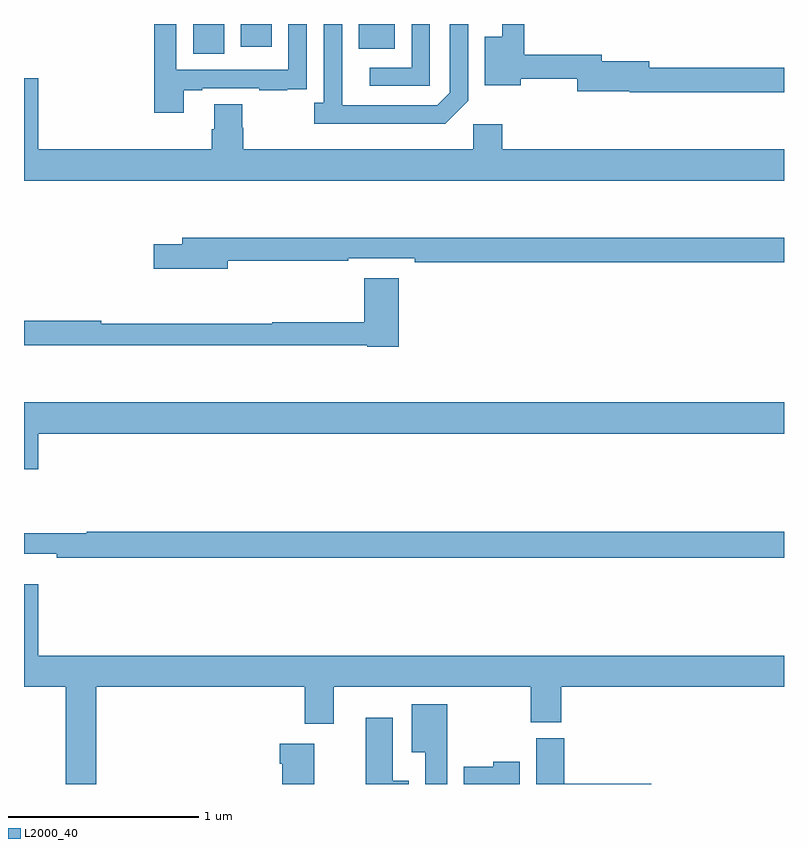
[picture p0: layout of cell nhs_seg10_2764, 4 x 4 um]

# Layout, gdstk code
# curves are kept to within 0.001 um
import gdstk
lib = gdstk.Library(unit=1e-6, precision=1e-09)
def R(c, l, rs):  # rectangles x0, y0, x1, y1
    for r in rs: c.add(gdstk.rectangle(r[:2], r[2:], *l))
def P(c, l, *ps):  # polygons
    for p in ps: c.add(gdstk.Polygon(p, *l))
L2000_40 = (2000, 40)

nhs_seg10_2764 = lib.new_cell('nhs_seg10_2764')
R(nhs_seg10_2764, L2000_40, [(261.89,1274.344,262.054,1274.5), (262.763,1274.369,262.951,1274.5), (262.142,1274.379,262.303,1274.5)])
P(nhs_seg10_2764, L2000_40, [(263.136,1274.5),(263.04,1274.5),(263.04,1274.271),(262.821,1274.271),(262.821,1274.175),(263.136,1274.175)],
  [(261.841,1274.151),(261.937,1274.151),(261.937,1274.163),(262.237,1274.163),(262.237,1274.151),(262.385,1274.151),(262.385,1274.157),(262.487,1274.157),(262.487,1274.266),(262.488,1274.266),(262.488,1274.5),(262.392,1274.5),(262.392,1274.259),(261.801,1274.259),(261.801,1274.5),(261.685,1274.5),(261.685,1274.034),(261.841,1274.034)],
  [(265,1274.27),(264.292,1274.27),(264.292,1274.303),(264.04,1274.303),(264.04,1274.339),(263.633,1274.339),(263.633,1274.5),(263.516,1274.5),(263.516,1274.434),(263.426,1274.434),(263.426,1274.177),(263.614,1274.177),(263.614,1274.211),(263.912,1274.211),(263.912,1274.146),(264.188,1274.146),(264.188,1274.142),(265,1274.142)],
  [(263.337,1274.097),(263.337,1274.5),(263.241,1274.5),(263.241,1274.139),(263.175,1274.073),(262.675,1274.073),(262.674,1274.5),(262.578,1274.5),(262.578,1274.086),(262.527,1274.086),(262.527,1273.976),(263.216,1273.976)],
  [(265,1273.84),(263.516,1273.84),(263.516,1273.972),(263.364,1273.972),(263.364,1273.84),(262.154,1273.84),(262.154,1273.953),(262.149,1273.953),(262.149,1274.078),(262.001,1274.078),(262.001,1273.946),(261.989,1273.946),(261.989,1273.84),(261.076,1273.84),(261.076,1274.215),(261,1274.215),(261,1273.676),(265,1273.676)],
  [(262.072,1273.254),(262.706,1273.254),(262.706,1273.266),(263.056,1273.266),(263.056,1273.246),(265,1273.246),(265,1273.375),(261.833,1273.375),(261.833,1273.341),(261.684,1273.341),(261.684,1273.211),(262.072,1273.211)],
  [(262.973,1273.162),(262.79,1273.162),(262.79,1272.931),(262.306,1272.931),(262.306,1272.923),(261.406,1272.923),(261.406,1272.938),(261,1272.938),(261,1272.81),(262.806,1272.81),(262.806,1272.802),(262.973,1272.802)],
  [(261.076,1272.344),(265,1272.344),(265,1272.508),(261,1272.508),(261,1272.156),(261.076,1272.156)],
  [(265,1271.828),(261.329,1271.828),(261.329,1271.821),(261,1271.821),(261,1271.711),(261.172,1271.711),(261.172,1271.692),(265,1271.692)],
  [(261.38,1271.012),(262.478,1271.012),(262.478,1270.818),(262.63,1270.818),(262.63,1271.012),(263.668,1271.012),(263.668,1270.825),(263.828,1270.825),(263.828,1271.012),(265,1271.012),(265,1271.176),(261.076,1271.176),(261.076,1271.551),(261,1271.551),(261,1271.012),(261.22,1271.012),(261.22,1270.5),(261.38,1270.5)],
  [(263.227,1270.921),(263.042,1270.921),(263.042,1270.667),(263.111,1270.667),(263.111,1270.5),(263.227,1270.5)],
  [(263.026,1270.516),(262.942,1270.516),(262.942,1270.849),(262.799,1270.849),(262.799,1270.5),(263.026,1270.5)],
  [(264.301,1270.502),(263.843,1270.502),(263.843,1270.74),(263.696,1270.74),(263.696,1270.5),(264.301,1270.5)],
  [(262.528,1270.711),(262.346,1270.711),(262.346,1270.607),(262.358,1270.607),(262.358,1270.5),(262.528,1270.5)],
  [(263.608,1270.618),(263.469,1270.618),(263.469,1270.591),(263.315,1270.591),(263.315,1270.5),(263.608,1270.5)])

lib.write_gds('nhs_seg10_2764.gds')
